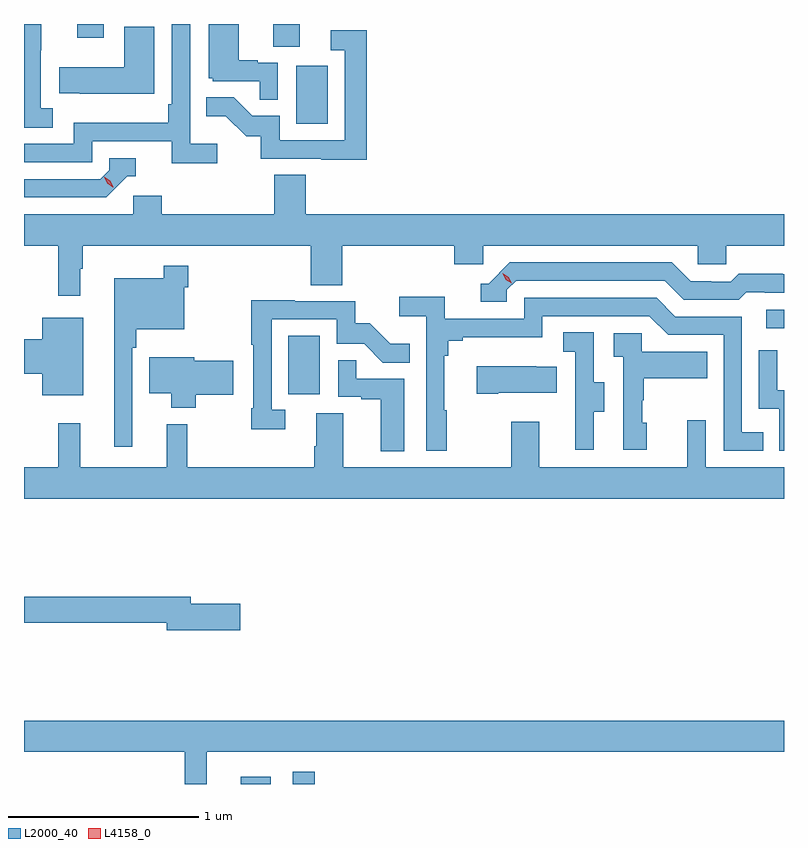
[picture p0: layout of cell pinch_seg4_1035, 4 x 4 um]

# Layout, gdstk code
import gdstk
lib = gdstk.Library(unit=1e-6, precision=1e-09)
def R(c, l, rs):  # rectangles x0, y0, x1, y1
    for r in rs: c.add(gdstk.rectangle(r[:2], r[2:], *l))
def P(c, l, *ps):  # polygons
    for p in ps: c.add(gdstk.Polygon(p, *l))
L2000_40 = (2000, 40)
L4158_0 = (4158, 0)

pinch_seg4_1035 = lib.new_cell('pinch_seg4_1035')
R(pinch_seg4_1035, L2000_40, [(817.97,759.354,818.128,759.391), (818.244,759.354,818.36,759.418), (818.222,761.406,818.386,761.713), (820.737,761.754,820.83,761.85), (818.264,762.828,818.428,763.135), (818.141,763.234,818.281,763.354), (817.109,763.281,817.249,763.354)])
P(pinch_seg4_1035, L2000_40, [(817.846,762.724),(817.704,762.724),(817.704,763.354),(817.608,763.354),(817.608,762.931),(817.588,762.931),(817.588,762.835),(817.092,762.835),(817.092,762.723),(816.83,762.723),(816.83,762.627),(817.188,762.627),(817.188,762.738),(817.607,762.738),(817.607,762.622),(817.846,762.622)],
  [(818.166,763.149),(818.06,763.149),(818.06,763.162),(817.96,763.162),(817.96,763.354),(817.802,763.354),(817.802,763.068),(817.824,763.068),(817.824,763.053),(818.071,763.053),(818.071,762.955),(818.166,762.955)],
  [(816.982,762.911),(816.918,762.911),(816.918,763.215),(816.92,763.215),(816.92,763.354),(816.83,763.354),(816.83,762.808),(816.982,762.808)],
  [(817.516,763.339),(817.358,763.339),(817.358,763.126),(817.015,763.126),(817.015,762.989),(817.123,762.989),(817.123,762.986),(817.516,762.986)],
  [(818.633,763.321),(818.445,763.321),(818.445,763.215),(818.517,763.215),(818.517,762.741),(818.175,762.741),(818.175,762.87),(818.031,762.87),(817.933,762.968),(817.789,762.968),(817.789,762.869),(817.893,762.869),(818,762.762),(818.077,762.762),(818.077,762.645),(818.395,762.645),(818.395,762.64),(818.633,762.64)],
  [(817.374,762.552),(817.417,762.552),(817.417,762.648),(817.278,762.648),(817.278,762.585),(817.23,762.537),(816.83,762.537),(816.83,762.441),(817.263,762.441)],
  [(817.126,762.065),(817.138,762.065),(817.138,762.188),(818.339,762.188),(818.339,761.98),(818.504,761.98),(818.504,762.188),(819.095,762.188),(819.095,762.09),(819.246,762.09),(819.246,762.188),(820.377,762.188),(820.377,762.09),(820.527,762.09),(820.527,762.188),(820.83,762.188),(820.83,762.352),(818.312,762.352),(818.312,762.56),(818.147,762.56),(818.147,762.352),(817.556,762.352),(817.556,762.45),(817.404,762.45),(817.404,762.352),(816.83,762.352),(816.83,762.188),(817.009,762.188),(817.009,761.925),(817.126,761.925)],
  [(819.372,761.955),(819.42,762.003),(820.203,762.003),(820.302,761.904),(820.591,761.904),(820.63,761.943),(820.729,761.943),(820.729,761.94),(820.83,761.94),(820.83,762.037),(820.824,762.037),(820.824,762.04),(820.591,762.04),(820.549,761.997),(820.446,761.997),(820.446,762),(820.339,762),(820.24,762.099),(819.387,762.099),(819.276,761.988),(819.233,761.988),(819.233,761.892),(819.372,761.892)],
  [(817.401,761.651),(817.421,761.651),(817.421,761.747),(817.674,761.747),(817.674,761.969),(817.694,761.969),(817.694,762.082),(817.566,762.082),(817.566,762.016),(817.304,762.016),(817.304,761.13),(817.401,761.13)],
  [(819.055,761.321),(819.043,761.321),(819.043,761.609),(819.062,761.609),(819.062,761.686),(819.139,761.686),(819.139,761.705),(819.558,761.705),(819.558,761.817),(820.122,761.817),(820.221,761.718),(820.512,761.718),(820.512,761.109),(820.721,761.109),(820.721,761.205),(820.608,761.205),(820.608,761.814),(820.258,761.814),(820.159,761.913),(819.462,761.913),(819.462,761.802),(819.044,761.802),(819.044,761.918),(818.805,761.918),(818.805,761.816),(818.946,761.816),(818.946,761.109),(819.055,761.109)],
  [(818.206,761.325),(818.133,761.325),(818.133,761.799),(818.475,761.799),(818.475,761.67),(818.62,761.67),(818.718,761.572),(818.861,761.572),(818.861,761.671),(818.757,761.671),(818.65,761.778),(818.574,761.778),(818.574,761.895),(818.255,761.895),(818.255,761.9),(818.025,761.9),(818.025,761.665),(818.037,761.665),(818.037,761.332),(818.025,761.332),(818.025,761.22),(818.206,761.22)],
  [(817.141,761.809),(816.926,761.809),(816.926,761.696),(816.83,761.696),(816.83,761.513),(816.926,761.513),(816.926,761.399),(817.141,761.399)],
  [(819.829,761.314),(819.883,761.314),(819.883,761.469),(819.828,761.469),(819.828,761.732),(819.669,761.732),(819.669,761.629),(819.732,761.629),(819.732,761.325),(819.731,761.325),(819.731,761.112),(819.829,761.112)],
  [(820.108,761.256),(820.083,761.256),(820.083,761.375),(820.093,761.375),(820.093,761.489),(820.427,761.489),(820.427,761.629),(820.08,761.629),(820.08,761.727),(819.933,761.727),(819.933,761.603),(819.984,761.603),(819.984,761.112),(820.108,761.112)],
  [(820.83,761.426),(820.794,761.426),(820.794,761.638),(820.698,761.638),(820.698,761.328),(820.806,761.328),(820.806,761.109),(820.83,761.109)],
  [(817.734,761.404),(817.93,761.404),(817.93,761.582),(817.726,761.582),(817.726,761.599),(817.49,761.599),(817.49,761.411),(817.604,761.411),(817.604,761.333),(817.734,761.333)],
  [(818.83,761.487),(818.579,761.487),(818.579,761.585),(818.484,761.585),(818.484,761.391),(818.605,761.391),(818.605,761.379),(818.708,761.379),(818.708,761.105),(818.83,761.105)],
  [(819.325,761.414),(819.635,761.414),(819.635,761.551),(819.527,761.551),(819.527,761.554),(819.213,761.554),(819.213,761.407),(819.325,761.407)],
  [(820.83,761.02),(820.419,761.02),(820.419,761.269),(820.322,761.269),(820.322,761.02),(819.541,761.02),(819.541,761.26),(819.394,761.26),(819.394,761.02),(818.509,761.02),(818.509,761.306),(818.369,761.306),(818.369,761.132),(818.357,761.132),(818.357,761.02),(817.69,761.02),(817.69,761.248),(817.58,761.248),(817.58,761.02),(817.127,761.02),(817.127,761.254),(817.009,761.254),(817.009,761.02),(816.83,761.02),(816.83,760.856),(820.83,760.856)],
  [(817.969,760.304),(817.708,760.304),(817.708,760.34),(816.83,760.34),(816.83,760.204),(817.58,760.204),(817.58,760.162),(817.969,760.162)],
  [(817.792,759.524),(820.83,759.524),(820.83,759.688),(816.83,759.688),(816.83,759.524),(817.675,759.524),(817.675,759.354),(817.792,759.354)])
P(pinch_seg4_1035, L4158_0, [(817.298,762.496),(817.268,762.517),(817.252,762.55),(817.252,762.55),(817.253,762.55),(817.283,762.53),(817.299,762.497),(817.299,762.496)],
  [(819.396,761.989),(819.365,762.009),(819.349,762.042),(819.349,762.042),(819.35,762.042),(819.38,762.022),(819.396,761.989),(819.396,761.989)])

lib.write_gds('pinch_seg4_1035.gds')
